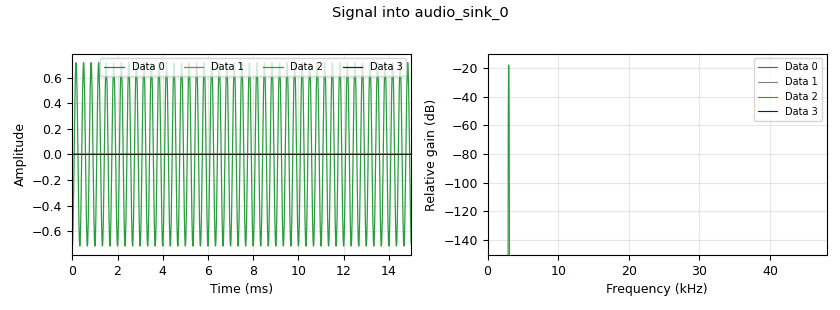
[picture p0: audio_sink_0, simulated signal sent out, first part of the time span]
<?xml version='1.0' encoding='utf-8'?>
<?grc format='1' created='3.7.13'?>
<flow_graph>
<block>
<key>options</key>
<param><key>id</key><value>phadiff_measure_gui</value></param>
<param><key>generate_options</key><value>qt_gui</value></param>
</block>
<block>
<key>variable_qtgui_chooser</key>
<param><key>id</key><value>PRI_CH</value></param>
<param><key>value</key><value>0</value></param>
<param><key>gui_hint</key><value>0,0,1,1</value></param>
<param><key>label0</key><value>Left</value></param>
<param><key>label1</key><value>Right</value></param>
<param><key>label</key><value>Measurement channel</value></param>
<param><key>num_opts</key><value>2</value></param>
<param><key>option0</key><value>0</value></param>
<param><key>option1</key><value>1</value></param>
<param><key>type</key><value>int</value></param>
</block>
<block>
<key>variable</key>
<param><key>id</key><value>algo</value></param>
<param><key>value</key><value>1</value></param>
</block>
<block>
<key>variable_qtgui_range</key>
<param><key>id</key><value>calc_len</value></param>
<param><key>value</key><value>64</value></param>
<param><key>gui_hint</key><value>1,0,1,3</value></param>
<param><key>label</key><value>Calc Len</value></param>
<param><key>orient</key><value>Qt.Horizontal</value></param>
<param><key>start</key><value>16</value></param>
<param><key>step</key><value>8</value></param>
<param><key>stop</key><value>2048</value></param>
<param><key>rangeType</key><value>int</value></param>
</block>
<block>
<key>variable_qtgui_range</key>
<param><key>id</key><value>gui_bal</value></param>
<param><key>value</key><value>0</value></param>
<param><key>gui_hint</key><value>4,0,1,3</value></param>
<param><key>label</key><value>Balance</value></param>
<param><key>orient</key><value>Qt.Horizontal</value></param>
<param><key>start</key><value>0</value></param>
<param><key>step</key><value>.5</value></param>
<param><key>stop</key><value>30</value></param>
</block>
<block>
<key>variable_qtgui_range</key>
<param><key>id</key><value>gui_comp</value></param>
<param><key>value</key><value>0</value></param>
<param><key>gui_hint</key><value>3,0,1,3</value></param>
<param><key>label</key><value>Digital Gain [dB]</value></param>
<param><key>orient</key><value>Qt.Horizontal</value></param>
<param><key>start</key><value>-20</value></param>
<param><key>step</key><value>.1</value></param>
<param><key>stop</key><value>20</value></param>
</block>
<block>
<key>variable_qtgui_range</key>
<param><key>id</key><value>gui_fc</value></param>
<param><key>value</key><value>3000</value></param>
<param><key>gui_hint</key><value>2,0,1,3</value></param>
<param><key>label</key><value>Center freq</value></param>
<param><key>orient</key><value>Qt.Horizontal</value></param>
<param><key>start</key><value>0</value></param>
<param><key>step</key><value>100</value></param>
<param><key>stop</key><value>24000</value></param>
</block>
<block>
<key>variable</key>
<param><key>id</key><value>iters</value></param>
<param><key>value</key><value>3</value></param>
</block>
<block>
<key>variable</key>
<param><key>id</key><value>samp_rate</value></param>
<param><key>value</key><value>96000</value></param>
</block>
<block>
<key>analog_sig_source_x</key>
<param><key>id</key><value>analog_sig_source_x_0</value></param>
<param><key>amp</key><value>.717</value></param>
<param><key>freq</key><value>gui_fc</value></param>
<param><key>offset</key><value>0</value></param>
<param><key>type</key><value>float</value></param>
<param><key>samp_rate</key><value>samp_rate</value></param>
<param><key>waveform</key><value>analog.GR_COS_WAVE</value></param>
</block>
<block>
<key>audio_sink</key>
<param><key>id</key><value>audio_sink_0</value></param>
<param><key>device_name</key><value>hw:USB,0</value></param>
<param><key>num_inputs</key><value>4</value></param>
<param><key>samp_rate</key><value>samp_rate</value></param>
</block>
<block>
<key>audio_source</key>
<param><key>id</key><value>audio_source_0</value></param>
<param><key>device_name</key><value>hw:USB,0</value></param>
<param><key>num_outputs</key><value>2</value></param>
<param><key>samp_rate</key><value>samp_rate</value></param>
</block>
<block>
<key>blocks_complex_to_mag</key>
<param><key>id</key><value>blocks_complex_to_mag_0</value></param>
</block>
<block>
<key>blocks_complex_to_mag</key>
<param><key>id</key><value>blocks_complex_to_mag_0_0</value></param>
</block>
<block>
<key>blocks_multiply_const_vxx</key>
<param><key>id</key><value>blocks_multiply_const_vxx_0</value></param>
<param><key>const</key><value>not PRI_CH</value></param>
<param><key>type</key><value>float</value></param>
</block>
<block>
<key>blocks_multiply_const_vxx</key>
<param><key>id</key><value>blocks_multiply_const_vxx_0_0</value></param>
<param><key>const</key><value>PRI_CH</value></param>
<param><key>type</key><value>float</value></param>
</block>
<block>
<key>blocks_multiply_const_xx</key>
<param><key>id</key><value>blocks_multiply_const_xx_0</value></param>
<param><key>const</key><value>10**((gui_comp+PRI_CH*gui_bal)*.1)</value></param>
<param><key>type</key><value>float</value></param>
</block>
<block>
<key>blocks_multiply_const_xx</key>
<param><key>id</key><value>blocks_multiply_const_xx_0_0</value></param>
<param><key>const</key><value>10**((gui_comp+(not PRI_CH)*gui_bal)*.1)</value></param>
<param><key>type</key><value>float</value></param>
</block>
<block>
<key>blocks_nlog10_ff</key>
<param><key>id</key><value>blocks_nlog10_ff_0</value></param>
<param><key>k</key><value>0</value></param>
<param><key>n</key><value>10</value></param>
</block>
<block>
<key>blocks_nlog10_ff</key>
<param><key>id</key><value>blocks_nlog10_ff_0_0</value></param>
<param><key>k</key><value>0</value></param>
<param><key>n</key><value>10</value></param>
</block>
<block>
<key>blocks_null_source</key>
<param><key>id</key><value>blocks_null_source_0</value></param>
<param><key>bus_conns</key><value>[[0,],]</value></param>
<param><key>type</key><value>float</value></param>
</block>
<block>
<key>import</key>
<param><key>id</key><value>import_0</value></param>
<param><key>import</key><value>import numpy as np</value></param>
</block>
<block>
<key>qtgui_freq_sink_x</key>
<param><key>id</key><value>qtgui_freq_sink_x_0</value></param>
<param><key>bw</key><value>samp_rate</value></param>
<param><key>fc</key><value>0</value></param>
<param><key>fftsize</key><value>1024</value></param>
<param><key>gui_hint</key><value>tab@1</value></param>
<param><key>grid</key><value>True</value></param>
<param><key>label1</key><value>LEFT</value></param>
<param><key>label2</key><value>RIGHT</value></param>
<param><key>nconnections</key><value>2</value></param>
<param><key>showports</key><value>True</value></param>
<param><key>freqhalf</key><value>False</value></param>
<param><key>type</key><value>float</value></param>
<param><key>update_time</key><value>.25</value></param>
<param><key>wintype</key><value>firdes.WIN_BLACKMAN_hARRIS</value></param>
</block>
<block>
<key>qtgui_number_sink</key>
<param><key>id</key><value>qtgui_number_sink_0</value></param>
<param><key>gui_hint</key><value>0,3,1,2</value></param>
<param><key>graph_type</key><value>qtgui.NUM_GRAPH_VERT</value></param>
<param><key>type</key><value>float</value></param>
<param><key>label1</key><value>LEFT</value></param>
<param><key>label2</key><value>RIGHT</value></param>
<param><key>max</key><value>0</value></param>
<param><key>min</key><value>-40</value></param>
<param><key>name</key><value>"Amplitude"</value></param>
<param><key>nconnections</key><value>2</value></param>
</block>
<block>
<key>qtgui_number_sink</key>
<param><key>id</key><value>qtgui_number_sink_0_0</value></param>
<param><key>gui_hint</key><value>0,1,1,2</value></param>
<param><key>graph_type</key><value>qtgui.NUM_GRAPH_VERT</value></param>
<param><key>type</key><value>float</value></param>
<param><key>label1</key><value>LEFT</value></param>
<param><key>unit1</key><value>dB</value></param>
<param><key>label2</key><value>RIGHT</value></param>
<param><key>unit2</key><value>dB</value></param>
<param><key>max</key><value>50</value></param>
<param><key>min</key><value>0</value></param>
<param><key>name</key><value>"SNR"</value></param>
<param><key>nconnections</key><value>2</value></param>
</block>
<block>
<key>qtgui_number_sink</key>
<param><key>id</key><value>qtgui_number_sink_0_1</value></param>
<param><key>gui_hint</key><value>1,3,2,2</value></param>
<param><key>graph_type</key><value>qtgui.NUM_GRAPH_VERT</value></param>
<param><key>type</key><value>float</value></param>
<param><key>label1</key><value>LEFT</value></param>
<param><key>label2</key><value>RIGHT</value></param>
<param><key>max</key><value>.5*samp_rate*1e-3</value></param>
<param><key>min</key><value>-.5*samp_rate*1e-3</value></param>
<param><key>name</key><value>"Freq"</value></param>
<param><key>nconnections</key><value>2</value></param>
</block>
<block>
<key>qtgui_time_sink_x</key>
<param><key>id</key><value>qtgui_time_sink_x_0</value></param>
<param><key>gui_hint</key><value>tab@0</value></param>
<param><key>color1</key><value>"blue"</value></param>
<param><key>label1</key><value>LEFT</value></param>
<param><key>color2</key><value>"red"</value></param>
<param><key>label2</key><value>RIGHT</value></param>
<param><key>name</key><value>"TIME"</value></param>
<param><key>nconnections</key><value>2</value></param>
<param><key>size</key><value>calc_len</value></param>
<param><key>srate</key><value>1</value></param>
<param><key>type</key><value>float</value></param>
<param><key>update_time</key><value>1</value></param>
</block>
<block>
<key>shfcc_sine_est</key>
<param><key>id</key><value>shfcc_sine_est_0</value></param>
<param><key>alg</key><value>algo</value></param>
<param><key>calc_len</key><value>calc_len</value></param>
<param><key>est_freq</key><value>(PRI_CH is 0)</value></param>
<param><key>freq_scale</key><value>1.e-3</value></param>
<param><key>iters</key><value>iters</value></param>
<param><key>known_freq</key><value>gui_fc</value></param>
<param><key>fs</key><value>samp_rate</value></param>
</block>
<block>
<key>shfcc_sine_est</key>
<param><key>id</key><value>shfcc_sine_est_0_0</value></param>
<param><key>alg</key><value>algo</value></param>
<param><key>calc_len</key><value>calc_len</value></param>
<param><key>est_freq</key><value>(PRI_CH is 1)</value></param>
<param><key>freq_scale</key><value>1.e-3</value></param>
<param><key>iters</key><value>iters</value></param>
<param><key>known_freq</key><value>gui_fc</value></param>
<param><key>fs</key><value>samp_rate</value></param>
</block>
<block>
<key>qtgui_tab_widget</key>
<param><key>id</key><value>tab</value></param>
<param><key>gui_hint</key><value>3,3,2,2</value></param>
<param><key>label0</key><value>Time</value></param>
<param><key>label1</key><value>Freq</value></param>
<param><key>num_tabs</key><value>2</value></param>
</block>
<connection><source_block_id>analog_sig_source_x_0</source_block_id><sink_block_id>blocks_multiply_const_vxx_0</sink_block_id><source_key>0</source_key><sink_key>0</sink_key></connection>
<connection><source_block_id>analog_sig_source_x_0</source_block_id><sink_block_id>blocks_multiply_const_vxx_0_0</sink_block_id><source_key>0</source_key><sink_key>0</sink_key></connection>
<connection><source_block_id>audio_source_0</source_block_id><sink_block_id>blocks_multiply_const_xx_0</sink_block_id><source_key>0</source_key><sink_key>0</sink_key></connection>
<connection><source_block_id>audio_source_0</source_block_id><sink_block_id>blocks_multiply_const_xx_0_0</sink_block_id><source_key>1</source_key><sink_key>0</sink_key></connection>
<connection><source_block_id>blocks_complex_to_mag_0</source_block_id><sink_block_id>blocks_nlog10_ff_0</sink_block_id><source_key>0</source_key><sink_key>0</sink_key></connection>
<connection><source_block_id>blocks_complex_to_mag_0_0</source_block_id><sink_block_id>blocks_nlog10_ff_0_0</sink_block_id><source_key>0</source_key><sink_key>0</sink_key></connection>
<connection><source_block_id>blocks_multiply_const_vxx_0</source_block_id><sink_block_id>audio_sink_0</sink_block_id><source_key>0</source_key><sink_key>2</sink_key></connection>
<connection><source_block_id>blocks_multiply_const_vxx_0_0</source_block_id><sink_block_id>audio_sink_0</sink_block_id><source_key>0</source_key><sink_key>3</sink_key></connection>
<connection><source_block_id>blocks_multiply_const_xx_0</source_block_id><sink_block_id>qtgui_freq_sink_x_0</sink_block_id><source_key>0</source_key><sink_key>0</sink_key></connection>
<connection><source_block_id>blocks_multiply_const_xx_0</source_block_id><sink_block_id>qtgui_time_sink_x_0</sink_block_id><source_key>0</source_key><sink_key>0</sink_key></connection>
<connection><source_block_id>blocks_multiply_const_xx_0</source_block_id><sink_block_id>shfcc_sine_est_0</sink_block_id><source_key>0</source_key><sink_key>0</sink_key></connection>
<connection><source_block_id>blocks_multiply_const_xx_0_0</source_block_id><sink_block_id>qtgui_freq_sink_x_0</sink_block_id><source_key>0</source_key><sink_key>1</sink_key></connection>
<connection><source_block_id>blocks_multiply_const_xx_0_0</source_block_id><sink_block_id>qtgui_time_sink_x_0</sink_block_id><source_key>0</source_key><sink_key>1</sink_key></connection>
<connection><source_block_id>blocks_multiply_const_xx_0_0</source_block_id><sink_block_id>shfcc_sine_est_0_0</sink_block_id><source_key>0</source_key><sink_key>0</sink_key></connection>
<connection><source_block_id>blocks_nlog10_ff_0</source_block_id><sink_block_id>qtgui_number_sink_0</sink_block_id><source_key>0</source_key><sink_key>0</sink_key></connection>
<connection><source_block_id>blocks_nlog10_ff_0_0</source_block_id><sink_block_id>qtgui_number_sink_0</sink_block_id><source_key>0</source_key><sink_key>1</sink_key></connection>
<connection><source_block_id>blocks_null_source_0</source_block_id><sink_block_id>audio_sink_0</sink_block_id><source_key>0</source_key><sink_key>0</sink_key></connection>
<connection><source_block_id>blocks_null_source_0</source_block_id><sink_block_id>audio_sink_0</sink_block_id><source_key>0</source_key><sink_key>1</sink_key></connection>
<connection><source_block_id>shfcc_sine_est_0</source_block_id><sink_block_id>blocks_complex_to_mag_0</sink_block_id><source_key>1</source_key><sink_key>0</sink_key></connection>
<connection><source_block_id>shfcc_sine_est_0</source_block_id><sink_block_id>qtgui_number_sink_0_1</sink_block_id><source_key>0</source_key><sink_key>0</sink_key></connection>
<connection><source_block_id>shfcc_sine_est_0</source_block_id><sink_block_id>qtgui_number_sink_0_0</sink_block_id><source_key>2</source_key><sink_key>0</sink_key></connection>
<connection><source_block_id>shfcc_sine_est_0_0</source_block_id><sink_block_id>blocks_complex_to_mag_0_0</sink_block_id><source_key>1</source_key><sink_key>0</sink_key></connection>
<connection><source_block_id>shfcc_sine_est_0_0</source_block_id><sink_block_id>qtgui_number_sink_0_1</sink_block_id><source_key>0</source_key><sink_key>1</sink_key></connection>
<connection><source_block_id>shfcc_sine_est_0_0</source_block_id><sink_block_id>qtgui_number_sink_0_0</sink_block_id><source_key>2</source_key><sink_key>1</sink_key></connection>
</flow_graph>
